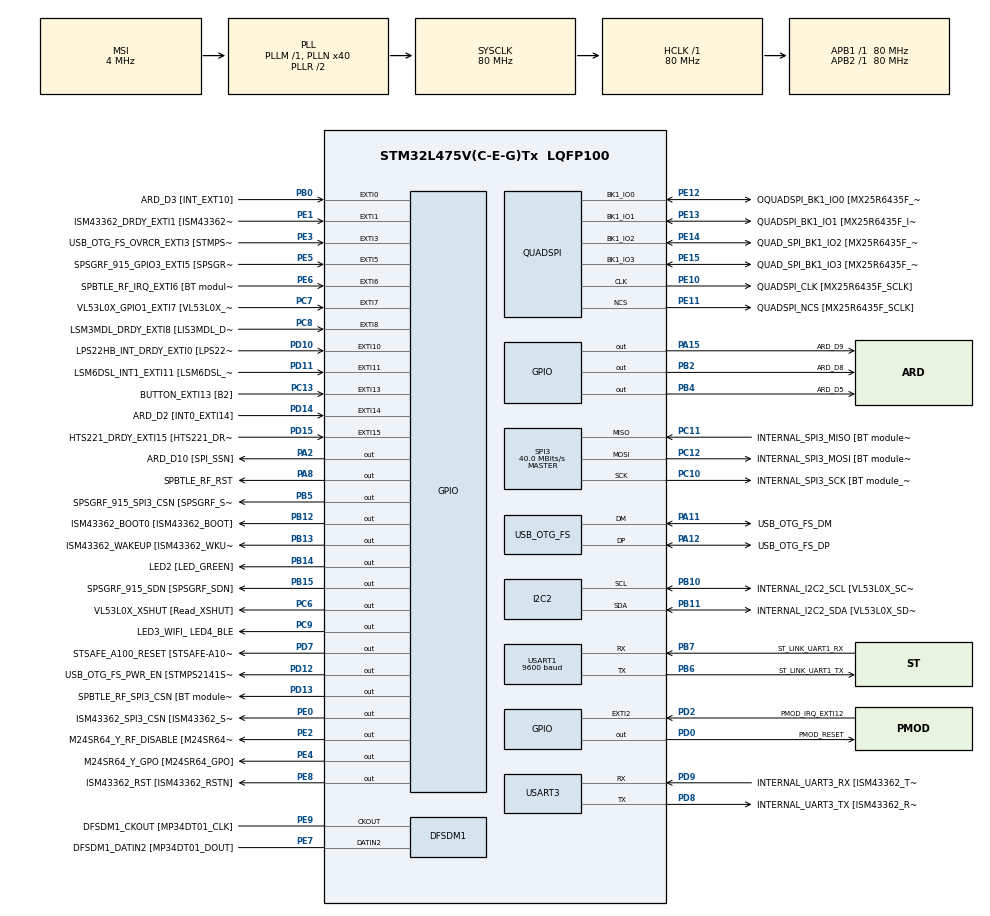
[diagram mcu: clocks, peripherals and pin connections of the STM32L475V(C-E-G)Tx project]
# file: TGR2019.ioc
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Mcu.Family=STM32L4
Mcu.Name=STM32L475V(C-E-G)Tx
Mcu.Package=LQFP100
NVIC.EXTI15_10_IRQn=true\:0\:0\:false\:false\:true\:true
NVIC.EXTI9_5_IRQn=true\:0\:0\:false\:false\:true\:true
NVIC.PriorityGroup=NVIC_PRIORITYGROUP_4
NVIC.TIM6_DAC_IRQn=true\:1\:0\:true\:false\:true\:true
NVIC.USART1_IRQn=true\:2\:0\:true\:false\:true\:true
PA0.GPIO_Label=ARD_D1 [UART4_TX]
PA0.Signal=UART4_TX
PA1.GPIO_Label=ARD_D0 [UART4_RX]
PA1.Signal=UART4_RX
PA10.GPIO_Label=USB_OTG_FS_ID
PA10.Signal=USB_OTG_FS_ID
PA11.GPIO_Label=USB_OTG_FS_DM
PA11.Mode=Device_Only
PA11.Signal=USB_OTG_FS_DM
PA12.GPIO_Label=USB_OTG_FS_DP
PA12.Mode=Device_Only
PA12.Signal=USB_OTG_FS_DP
PA13\ (JTMS-SWDIO).GPIO_Label=SYS_JTMS_SWDIO
PA13\ (JTMS-SWDIO).Mode=Serial_Wire
PA13\ (JTMS-SWDIO).Signal=SYS_JTMS-SWDIO
PA14\ (JTCK-SWCLK).GPIO_Label=SYS_JTCK_SWCLK
PA14\ (JTCK-SWCLK).Mode=Serial_Wire
PA14\ (JTCK-SWCLK).Signal=SYS_JTCK-SWCLK
PA15\ (JTDI).GPIO_Label=ARD_D9
PA15\ (JTDI).Signal=GPIO_Output
PA2.GPIO_Label=ARD_D10 [SPI_SSN]
PA2.Signal=GPIO_Output
PA3.GPIO_Label=ARD_D4
PA3.Signal=S_TIM2_CH4
PA4.GPIO_Label=ARD_D7
PA4.Signal=ADCx_IN9
PA5.GPIO_Label=ARD_D13 [SPI1_SCK]
PA5.Signal=SPI1_SCK
PA6.GPIO_Label=ARD_D12 [SPI1_MISO]
PA6.Signal=SPI1_MISO
PA7.GPIO_Label=ARD_D11 [SPI1_MOSI]
PA7.Signal=SPI1_MOSI
PA8.GPIO_Label=SPBTLE_RF_RST
PA8.Signal=GPIO_Output
PA9.GPIO_Label=USB_OTG_FS_VBUS [STMPS2141STR_OUT]
PA9.Signal=USB_OTG_FS_VBUS
PB0.GPIO_Label=ARD_D3 [INT_EXT10]
PB0.Signal=GPXTI0
PB1.GPIO_Label=ARD_D6 [ADC1_IN6]
PB1.Signal=ADCx_IN16
PB10.GPIO_Label=INTERNAL_I2C2_SCL [VL53L0X_SCL]
PB10.Mode=I2C
PB10.Signal=I2C2_SCL
PB11.GPIO_Label=INTERNAL_I2C2_SDA [VL53L0X_SDA]
PB11.Mode=I2C
PB11.Signal=I2C2_SDA
PB12.GPIO_Label=ISM43362_BOOT0 [ISM43362_BOOT]
PB12.Signal=GPIO_Output
PB13.GPIO_Label=ISM43362_WAKEUP [ISM43362_WKUP]
PB13.Signal=GPIO_Output
PB14.GPIO_Label=LED2 [LED_GREEN]
PB14.Signal=GPIO_Output
PB15.GPIO_Label=SPSGRF_915_SDN [SPSGRF_SDN]
PB15.Signal=GPIO_Output
PB2.GPIO_Label=ARD_D8
PB2.Signal=GPIO_Output
PB3\ (JTDO-TRACESWO).GPIO_Label=SYS_JTD0_SWO
PB3\ (JTDO-TRACESWO).Signal=SYS_JTDO-SWO
PB4\ (NJTRST).GPIO_Label=ARD_D5
PB4\ (NJTRST).Signal=GPIO_Output
PB5.GPIO_Label=SPSGRF_915_SPI3_CSN [SPSGRF_SPI_CS]
PB5.Signal=GPIO_Output
PB6.GPIO_Label=ST_LINK_UART1_TX
PB6.Mode=Asynchronous
PB6.Signal=USART1_TX
PB7.GPIO_Label=ST_LINK_UART1_RX
PB7.Mode=Asynchronous
PB7.Signal=USART1_RX
PB8.GPIO_Label=ARD_D15 [I2C1_SCL]
PB8.Signal=I2C1_SCL
PB9.GPIO_Label=ARD_D14 [I2C1_SDA]
PB9.Signal=I2C1_SDA
PC0.GPIO_Label=ARD_A5 [ADC]
PC0.Signal=ADCx_IN1
PC1.GPIO_Label=ARD_A4 [ADC]
PC1.Signal=ADCx_IN2
PC10.GPIO_Label=INTERNAL_SPI3_SCK [BT module_SPI_SCLK]
PC10.Mode=Full_Duplex_Master
PC10.Signal=SPI3_SCK
PC11.GPIO_Label=INTERNAL_SPI3_MISO [BT module_SPI_MISO]
PC11.Mode=Full_Duplex_Master
PC11.Signal=SPI3_MISO
PC12.GPIO_Label=INTERNAL_SPI3_MOSI [BT module_SPI_MOSI]
PC12.Mode=Full_Duplex_Master
PC12.Signal=SPI3_MOSI
PC13.GPIO_Label=BUTTON_EXTI13 [B2]
PC13.GPIO_ModeDefaultEXTI=GPIO_MODE_IT_FALLING
PC13.Signal=GPXTI13
PC14-OSC32_IN\ (PC14).Mode=LSE-External-Oscillator
PC14-OSC32_IN\ (PC14).Signal=RCC_OSC32_IN
PC15-OSC32_OUT\ (PC15).Mode=LSE-External-Oscillator
PC15-OSC32_OUT\ (PC15).Signal=RCC_OSC32_OUT
PC2.GPIO_Label=ARD_A3 [ADC]
PC2.Signal=ADCx_IN3
PC3.GPIO_Label=ARD_A2 [ADC]
PC3.Signal=ADCx_IN4
PC4.GPIO_Label=ARD_A1 [ADC]
PC4.Signal=ADCx_IN13
PC5.GPIO_Label=ARD_A0 [ADC]
PC5.Signal=ADCx_IN14
PC6.GPIO_Label=VL53L0X_XSHUT [Read_XSHUT]
PC6.Signal=GPIO_Output
PC7.GPIO_Label=VL53L0X_GPIO1_EXTI7 [VL53L0X_GPIO1]
PC7.Signal=GPXTI7
PC8.GPIO_Label=LSM3MDL_DRDY_EXTI8 [LIS3MDL_DRDY]
PC8.Signal=GPXTI8
PC9.GPIO_Label=LED3_WIFI_ LED4_BLE
PC9.Signal=GPIO_Output
PD0.GPIO_Label=PMOD_RESET
PD0.Signal=GPIO_Output
PD1.GPIO_Label=PMOD_SPI2_SCK
PD1.Signal=SPI2_SCK
PD10.GPIO_Label=LPS22HB_INT_DRDY_EXTI0 [LPS22HB_INT_DRDY] 
PD10.Signal=GPXTI10
PD11.GPIO_Label=LSM6DSL_INT1_EXTI11 [LSM6DSL_INT1]
PD11.Signal=GPXTI11
PD12.GPIO_Label=USB_OTG_FS_PWR_EN [STMPS2141STR_EN]
PD12.Signal=GPIO_Output
PD13.GPIO_Label=SPBTLE_RF_SPI3_CSN [BT module_SPI_CS]
PD13.Signal=GPIO_Output
PD14.GPIO_Label=ARD_D2 [INT0_EXTI14]
PD14.Signal=GPXTI14
PD15.GPIO_Label=HTS221_DRDY_EXTI15 [HTS221_DRDY]
PD15.Signal=GPXTI15
PD2.GPIO_Label=PMOD_IRQ_EXTI12
PD2.Signal=GPXTI2
PD3.GPIO_Label=PMOD_UART2_CTS
PD3.Signal=USART2_CTS
PD4.GPIO_Label=PMOD_UART2_RTS
PD4.Signal=USART2_RTS
PD5.GPIO_Label=PMOD_UART2_TX
PD5.Signal=USART2_TX
PD6.GPIO_Label=PMOD_UART2_RX
PD6.Signal=USART2_RX
PD7.GPIO_Label=STSAFE_A100_RESET [STSAFE-A100_RESET]
PD7.Signal=GPIO_Output
PD8.GPIO_Label=INTERNAL_UART3_TX [ISM43362_RX]
PD8.Mode=Asynchronous
PD8.Signal=USART3_TX
PD9.GPIO_Label=INTERNAL_UART3_RX [ISM43362_TX]
PD9.Mode=Asynchronous
PD9.Signal=USART3_RX
PE0.GPIO_Label=ISM43362_SPI3_CSN [ISM43362_SSN]
PE0.Signal=GPIO_Output
PE1.GPIO_Label=ISM43362_DRDY_EXTI1 [ISM43362_DATARDY]
PE1.Signal=GPXTI1
PE10.GPIO_Label=QUADSPI_CLK [MX25R6435F_SCLK]
PE10.Mode=Single Bank
PE10.Signal=QUADSPI_CLK
PE11.GPIO_Label=QUADSPI_NCS [MX25R6435F_SCLK]
PE11.Mode=Single Bank
PE11.Signal=QUADSPI_NCS
PE12.GPIO_Label=OQUADSPI_BK1_IO0 [MX25R6435F_IO0]
PE12.Mode=Single Bank
PE12.Signal=QUADSPI_BK1_IO0
PE13.GPIO_Label=QUADSPI_BK1_IO1 [MX25R6435F_IO1]
PE13.Mode=Single Bank
PE13.Signal=QUADSPI_BK1_IO1
PE14.GPIO_Label=QUAD_SPI_BK1_IO2 [MX25R6435F_IO2]
PE14.Mode=Single Bank
PE14.Signal=QUADSPI_BK1_IO2
PE15.GPIO_Label=QUAD_SPI_BK1_IO3 [MX25R6435F_IO3]
PE15.Mode=Single Bank
PE15.Signal=QUADSPI_BK1_IO3
PE2.GPIO_Label=M24SR64_Y_RF_DISABLE [M24SR64_RFDIS]
PE2.Signal=GPIO_Output
PE3.GPIO_Label=USB_OTG_FS_OVRCR_EXTI3 [STMPS2141STR_FAULT]
PE3.Signal=GPXTI3
PE4.GPIO_Label=M24SR64_Y_GPO [M24SR64_GPO]
PE4.Signal=GPIO_Output
PE5.GPIO_Label=SPSGRF_915_GPIO3_EXTI5 [SPSGRF_GPIO_3]
PE5.Signal=GPXTI5
PE6.GPIO_Label=SPBTLE_RF_IRQ_EXTI6 [BT module_SPI_IRQ]
PE6.Signal=GPXTI6
PE7.GPIO_Label=DFSDM1_DATIN2 [MP34DT01_DOUT]
PE7.Signal=S_DATAIN2DFSDM1
PE8.GPIO_Label=ISM43362_RST [ISM43362_RSTN]
PE8.Signal=GPIO_Output
PE9.GPIO_Label=DFSDM1_CKOUT [MP34DT01_CLK]
PE9.Signal=S_CKOUTDFSDM1
ProjectManager.HeapSize=0x200
ProjectManager.StackSize=0x400
ProjectManager.TargetToolchain=TrueSTUDIO
RCC.ADCFreq_Value=48000000
RCC.AHBFreq_Value=80000000
RCC.APB1Freq_Value=80000000
RCC.APB1TimFreq_Value=80000000
RCC.APB2Freq_Value=80000000
RCC.APB2TimFreq_Value=80000000
RCC.CortexFreq_Value=80000000
RCC.HCLKFreq_Value=80000000
RCC.HSE_VALUE=8000000
RCC.HSI_VALUE=16000000
RCC.MSI_VALUE=4000000
RCC.PLLN=40
RCC.PLLSAI1N=24
RCC.SYSCLKFreq_VALUE=80000000
RCC.SYSCLKSource=RCC_SYSCLKSOURCE_PLLCLK
RCC.USBFreq_Value=48000000
RCC.VCOOutputFreq_Value=160000000
SH.ADCx_IN1.0=ADC1_IN1
SH.ADCx_IN13.0=ADC1_IN13
SH.ADCx_IN14.0=ADC1_IN14
SH.ADCx_IN16.0=ADC1_IN16
SH.ADCx_IN2.0=ADC1_IN2
SH.ADCx_IN3.0=ADC1_IN3
SH.ADCx_IN4.0=ADC1_IN4
SH.ADCx_IN9.0=ADC1_IN9
SH.S_CKOUTDFSDM1.0=DFSDM1_CKOUT,CKOUT
SH.S_CKOUTDFSDM1.1=DFSDM1_CKOUT,PDM_SPI_Input_from_ch12_and_Internal_Clock
SH.S_DATAIN2DFSDM1.0=DFSDM1_DATIN2,PDM_SPI_Input_from_ch12_and_Internal_Clock
SH.S_TIM2_CH4.0=TIM2_CH4
SPI3.CalculateBaudRate=40.0 MBits/s
SPI3.Direction=SPI_DIRECTION_2LINES
SPI3.Mode=SPI_MODE_MASTER
SPI3.VirtualType=VM_MASTER
TIM6.Period=40000
TIM6.Prescaler=999
USART1.BaudRate=9600
USART1.VirtualMode-Asynchronous=VM_ASYNC
USART3.VirtualMode-Asynchronous=VM_ASYNC
USB_OTG_FS.VirtualMode=Device_Only
VP_TIM6_VS_ClockSourceINT.Mode=Enable_Timer
board=B-L475E-IOT01A

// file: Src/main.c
/* USER CODE BEGIN Header */
/**
  ******************************************************************************
  * @file           : main.c
  * @brief          : Main program body
  ******************************************************************************
  ** This notice applies to any and all portions of this file
  * that are not between comment pairs USER CODE BEGIN and
  * USER CODE END. Other portions of this file, whether
  * inserted by the user or by software development tools
  * are owned by their respective copyright owners.
  *
  * COPYRIGHT(c) 2019 STMicroelectronics
  *
  * Redistribution and use in source and binary forms, with or without modification,
  * are permitted provided that the following conditions are met:
  *   1. Redistributions of source code must retain the above copyright notice,
  *      this list of conditions and the following disclaimer.
  *   2. Redistributions in binary form must reproduce the above copyright notice,
  *      this list of conditions and the following disclaimer in the documentation
  *      and/or other materials provided with the distribution.
  *   3. Neither the name of STMicroelectronics nor the names of its contributors
  *      may be used to endorse or promote products derived from this software
  *      without specific prior written permission.
  *
  * THIS SOFTWARE IS PROVIDED BY THE COPYRIGHT HOLDERS AND CONTRIBUTORS "AS IS"
  * AND ANY EXPRESS OR IMPLIED WARRANTIES, INCLUDING, BUT NOT LIMITED TO, THE
  * IMPLIED WARRANTIES OF MERCHANTABILITY AND FITNESS FOR A PARTICULAR PURPOSE ARE
  * DISCLAIMED. IN NO EVENT SHALL THE COPYRIGHT HOLDER OR CONTRIBUTORS BE LIABLE
  * FOR ANY DIRECT, INDIRECT, INCIDENTAL, SPECIAL, EXEMPLARY, OR CONSEQUENTIAL
  * DAMAGES (INCLUDING, BUT NOT LIMITED TO, PROCUREMENT OF SUBSTITUTE GOODS OR
  * SERVICES; LOSS OF USE, DATA, OR PROFITS; OR BUSINESS INTERRUPTION) HOWEVER
  * CAUSED AND ON ANY THEORY OF LIABILITY, WHETHER IN CONTRACT, STRICT LIABILITY,
  * OR TORT (INCLUDING NEGLIGENCE OR OTHERWISE) ARISING IN ANY WAY OUT OF THE USE
  * OF THIS SOFTWARE, EVEN IF ADVISED OF THE POSSIBILITY OF SUCH DAMAGE.
  *
  ******************************************************************************
  */
/* USER CODE END Header */

#include "main.h"

/* USER CODE BEGIN Includes */
#include <stdio.h>
#include "stm32l475e_iot01.h"
#include "stm32l475e_iot01_accelero.h"
#include "stm32l475e_iot01_magneto.h"
#include "stm32l475e_iot01_gyro.h"
#include "stm32l475e_iot01_tsensor.h"
#include "stm32l475e_iot01_psensor.h"
#include "stm32l475e_iot01_hsensor.h"

/* USER CODE END Includes */
static void VL53L0X_PROXIMITY_MspInit(void);
static uint16_t VL53L0X_PROXIMITY_GetDistance(void);
static void VL53L0X_PROXIMITY_Init(void);
/* USER CODE BEGIN PTD */
#include "string.h"

extern I2C_HandleTypeDef hI2cHandler;
VL53L0X_Dev_t Dev =
{
  .I2cHandle = &hI2cHandler,
  .I2cDevAddr = PROXIMITY_I2C_ADDRESS
};
/* USER CODE END PTD */

DFSDM_Channel_HandleTypeDef hdfsdm1_channel1;

I2C_HandleTypeDef hi2c2;

QSPI_HandleTypeDef hqspi;

SPI_HandleTypeDef hspi3;

TIM_HandleTypeDef htim6;

UART_HandleTypeDef huart1;
UART_HandleTypeDef huart3;

PCD_HandleTypeDef hpcd_USB_OTG_FS;

void SystemClock_Config(void);
static void MX_GPIO_Init(void);
static void MX_DFSDM1_Init(void);
static void MX_I2C2_Init(void);
static void MX_QUADSPI_Init(void);
static void MX_SPI3_Init(void);
static void MX_USART1_UART_Init(void);
static void MX_USART3_UART_Init(void);
static void MX_USB_OTG_FS_PCD_Init(void);
static void MX_TIM6_Init(void);

extern float PRESSURE;
extern float HUMIDITY;
extern float TEMPERATURE;

extern int16_t pDataXYZ[3];
extern float pfDataXYZ[3];
extern int16_t pDataXYZ1[3];
extern uint16_t prox_value;
//uint16_t prox_value;

/* USER CODE BEGIN 0 */
/* Private function prototypes -----------------------------------------------*/
//static void VL53L0X_PROXIMITY_MspInit(void);
//static uint16_t VL53L0X_PROXIMITY_GetDistance(void);
//static void VL53L0X_PROXIMITY_Init(void);
/* Private functions ---------------------------------------------------------*/
/* USER CODE END 0 */

int main(void)
{

  /* MCU Configuration--------------------------------------------------------*/

  /* Reset of all peripherals, Initializes the Flash interface and the Systick. */
  HAL_Init();

  /* Configure the system clock */
  SystemClock_Config();

  /* Initialize all configured peripherals */
  MX_GPIO_Init();
  MX_DFSDM1_Init();
  MX_I2C2_Init();
  MX_QUADSPI_Init();
  MX_SPI3_Init();
  MX_USART1_UART_Init();
  MX_USART3_UART_Init();
  MX_USB_OTG_FS_PCD_Init();
  MX_TIM6_Init();
  /* USER CODE BEGIN 2 */

  BSP_PSENSOR_Init();
  BSP_ACCELERO_Init();
  BSP_TSENSOR_Init();
  BSP_GYRO_Init();
  BSP_MAGNETO_Init();
  BSP_HSENSOR_Init();
  VL53L0X_PROXIMITY_Init();

//  HAL_Sleep(1000);

  HAL_TIM_Base_Start_IT(&htim6);
  __HAL_UART_ENABLE_IT(&huart1,UART_IT_RXNE);

  /* USER CODE END 2 */

  /* Infinite loop */
  while (1)
  {
	  PRESSURE = BSP_PSENSOR_ReadPressure();
	  HUMIDITY = BSP_HSENSOR_ReadHumidity();
	  TEMPERATURE = BSP_TSENSOR_ReadTemp();

	  BSP_ACCELERO_AccGetXYZ(pDataXYZ);
	  BSP_GYRO_GetXYZ(pfDataXYZ);
	  BSP_MAGNETO_GetXYZ(pDataXYZ1);

      prox_value = VL53L0X_PROXIMITY_GetDistance();
//      char str[50];

//	  sprintf(str,"PRESSURE is = %d mBar\n\r",prox_value);

//      HAL_UART_Transmit(&huart1,str, strlen(str),1000);

//	  char str[50];
//	float TEMPERATURE = BSP_TSENSOR_ReadTemp();
//	sprintf(str,"TEMPERATURE is = %.2f *C\n\r",TEMPERATURE);
//		  HAL_UART_Transmit(&huart1,str, strlen(str),1000);
  }
}

void SystemClock_Config(void)
{
  RCC_OscInitTypeDef RCC_OscInitStruct = {0};
  RCC_ClkInitTypeDef RCC_ClkInitStruct = {0};
  RCC_PeriphCLKInitTypeDef PeriphClkInit = {0};

  /**Configure LSE Drive Capability
  */
  HAL_PWR_EnableBkUpAccess();
  __HAL_RCC_LSEDRIVE_CONFIG(RCC_LSEDRIVE_LOW);
  /**Initializes the CPU, AHB and APB busses clocks
  */
  RCC_OscInitStruct.OscillatorType = RCC_OSCILLATORTYPE_LSE|RCC_OSCILLATORTYPE_MSI;
  RCC_OscInitStruct.LSEState = RCC_LSE_ON;
  RCC_OscInitStruct.MSIState = RCC_MSI_ON;
  RCC_OscInitStruct.MSICalibrationValue = 0;
  RCC_OscInitStruct.MSIClockRange = RCC_MSIRANGE_6;
  RCC_OscInitStruct.PLL.PLLState = RCC_PLL_ON;
  RCC_OscInitStruct.PLL.PLLSource = RCC_PLLSOURCE_MSI;
  RCC_OscInitStruct.PLL.PLLM = 1;
  RCC_OscInitStruct.PLL.PLLN = 40;
  RCC_OscInitStruct.PLL.PLLP = RCC_PLLP_DIV7;
  RCC_OscInitStruct.PLL.PLLQ = RCC_PLLQ_DIV2;
  RCC_OscInitStruct.PLL.PLLR = RCC_PLLR_DIV2;
  if (HAL_RCC_OscConfig(&RCC_OscInitStruct) != HAL_OK)
  {
    Error_Handler();
  }
  /**Initializes the CPU, AHB and APB busses clocks
  */
  RCC_ClkInitStruct.ClockType = RCC_CLOCKTYPE_HCLK|RCC_CLOCKTYPE_SYSCLK
                              |RCC_CLOCKTYPE_PCLK1|RCC_CLOCKTYPE_PCLK2;
  RCC_ClkInitStruct.SYSCLKSource = RCC_SYSCLKSOURCE_PLLCLK;
  RCC_ClkInitStruct.AHBCLKDivider = RCC_SYSCLK_DIV1;
  RCC_ClkInitStruct.APB1CLKDivider = RCC_HCLK_DIV1;
  RCC_ClkInitStruct.APB2CLKDivider = RCC_HCLK_DIV1;

  if (HAL_RCC_ClockConfig(&RCC_ClkInitStruct, FLASH_LATENCY_4) != HAL_OK)
  {
    Error_Handler();
  }
  PeriphClkInit.PeriphClockSelection = RCC_PERIPHCLK_USART1|RCC_PERIPHCLK_USART3
                              |RCC_PERIPHCLK_I2C2|RCC_PERIPHCLK_DFSDM1
                              |RCC_PERIPHCLK_USB;
  PeriphClkInit.Usart1ClockSelection = RCC_USART1CLKSOURCE_PCLK2;
  PeriphClkInit.Usart3ClockSelection = RCC_USART3CLKSOURCE_PCLK1;
  PeriphClkInit.I2c2ClockSelection = RCC_I2C2CLKSOURCE_PCLK1;
  PeriphClkInit.Dfsdm1ClockSelection = RCC_DFSDM1CLKSOURCE_PCLK;
  PeriphClkInit.UsbClockSelection = RCC_USBCLKSOURCE_PLLSAI1;
  PeriphClkInit.PLLSAI1.PLLSAI1Source = RCC_PLLSOURCE_MSI;
  PeriphClkInit.PLLSAI1.PLLSAI1M = 1;
  PeriphClkInit.PLLSAI1.PLLSAI1N = 24;
  PeriphClkInit.PLLSAI1.PLLSAI1P = RCC_PLLP_DIV7;
  PeriphClkInit.PLLSAI1.PLLSAI1Q = RCC_PLLQ_DIV2;
  PeriphClkInit.PLLSAI1.PLLSAI1R = RCC_PLLR_DIV2;
  PeriphClkInit.PLLSAI1.PLLSAI1ClockOut = RCC_PLLSAI1_48M2CLK;
  if (HAL_RCCEx_PeriphCLKConfig(&PeriphClkInit) != HAL_OK)
  {
    Error_Handler();
  }
  /**Configure the main internal regulator output voltage
  */
  if (HAL_PWREx_ControlVoltageScaling(PWR_REGULATOR_VOLTAGE_SCALE1) != HAL_OK)
  {
    Error_Handler();
  }
  /**Enable MSI Auto calibration
  */
  HAL_RCCEx_EnableMSIPLLMode();
}

static void MX_DFSDM1_Init(void)
{

  hdfsdm1_channel1.Instance = DFSDM1_Channel1;
  hdfsdm1_channel1.Init.OutputClock.Activation = ENABLE;
  hdfsdm1_channel1.Init.OutputClock.Selection = DFSDM_CHANNEL_OUTPUT_CLOCK_SYSTEM;
  hdfsdm1_channel1.Init.OutputClock.Divider = 2;
  hdfsdm1_channel1.Init.Input.Multiplexer = DFSDM_CHANNEL_EXTERNAL_INPUTS;
  hdfsdm1_channel1.Init.Input.DataPacking = DFSDM_CHANNEL_STANDARD_MODE;
  hdfsdm1_channel1.Init.Input.Pins = DFSDM_CHANNEL_FOLLOWING_CHANNEL_PINS;
  hdfsdm1_channel1.Init.SerialInterface.Type = DFSDM_CHANNEL_SPI_RISING;
  hdfsdm1_channel1.Init.SerialInterface.SpiClock = DFSDM_CHANNEL_SPI_CLOCK_INTERNAL;
  hdfsdm1_channel1.Init.Awd.FilterOrder = DFSDM_CHANNEL_FASTSINC_ORDER;
  hdfsdm1_channel1.Init.Awd.Oversampling = 1;
  hdfsdm1_channel1.Init.Offset = 0;
  hdfsdm1_channel1.Init.RightBitShift = 0x00;
  if (HAL_DFSDM_ChannelInit(&hdfsdm1_channel1) != HAL_OK)
  {
    Error_Handler();
  }

}

static void MX_I2C2_Init(void)
{

  hi2c2.Instance = I2C2;
  hi2c2.Init.Timing = 0x10909CEC;
  hi2c2.Init.OwnAddress1 = 0;
  hi2c2.Init.AddressingMode = I2C_ADDRESSINGMODE_7BIT;
  hi2c2.Init.DualAddressMode = I2C_DUALADDRESS_DISABLE;
  hi2c2.Init.OwnAddress2 = 0;
  hi2c2.Init.OwnAddress2Masks = I2C_OA2_NOMASK;
  hi2c2.Init.GeneralCallMode = I2C_GENERALCALL_DISABLE;
  hi2c2.Init.NoStretchMode = I2C_NOSTRETCH_DISABLE;
  if (HAL_I2C_Init(&hi2c2) != HAL_OK)
  {
    Error_Handler();
  }
  /**Configure Analogue filter
  */
  if (HAL_I2CEx_ConfigAnalogFilter(&hi2c2, I2C_ANALOGFILTER_ENABLE) != HAL_OK)
  {
    Error_Handler();
  }
  /**Configure Digital filter
  */
  if (HAL_I2CEx_ConfigDigitalFilter(&hi2c2, 0) != HAL_OK)
  {
    Error_Handler();
  }

}

static void MX_QUADSPI_Init(void)
{

  /* QUADSPI parameter configuration*/
  hqspi.Instance = QUADSPI;
  hqspi.Init.ClockPrescaler = 255;
  hqspi.Init.FifoThreshold = 1;
  hqspi.Init.SampleShifting = QSPI_SAMPLE_SHIFTING_NONE;
  hqspi.Init.FlashSize = 1;
  hqspi.Init.ChipSelectHighTime = QSPI_CS_HIGH_TIME_1_CYCLE;
  hqspi.Init.ClockMode = QSPI_CLOCK_MODE_0;
  if (HAL_QSPI_Init(&hqspi) != HAL_OK)
  {
    Error_Handler();
  }

}

static void MX_SPI3_Init(void)
{

  /* SPI3 parameter configuration*/
  hspi3.Instance = SPI3;
  hspi3.Init.Mode = SPI_MODE_MASTER;
  hspi3.Init.Direction = SPI_DIRECTION_2LINES;
  hspi3.Init.DataSize = SPI_DATASIZE_4BIT;
  hspi3.Init.CLKPolarity = SPI_POLARITY_LOW;
  hspi3.Init.CLKPhase = SPI_PHASE_1EDGE;
  hspi3.Init.NSS = SPI_NSS_SOFT;
  hspi3.Init.BaudRatePrescaler = SPI_BAUDRATEPRESCALER_2;
  hspi3.Init.FirstBit = SPI_FIRSTBIT_MSB;
  hspi3.Init.TIMode = SPI_TIMODE_DISABLE;
  hspi3.Init.CRCCalculation = SPI_CRCCALCULATION_DISABLE;
  hspi3.Init.CRCPolynomial = 7;
  hspi3.Init.CRCLength = SPI_CRC_LENGTH_DATASIZE;
  hspi3.Init.NSSPMode = SPI_NSS_PULSE_ENABLE;
  if (HAL_SPI_Init(&hspi3) != HAL_OK)
  {
    Error_Handler();
  }

}

static void MX_TIM6_Init(void)
{

  TIM_MasterConfigTypeDef sMasterConfig = {0};

  htim6.Instance = TIM6;
  htim6.Init.Prescaler = 999;
  htim6.Init.CounterMode = TIM_COUNTERMODE_UP;
  htim6.Init.Period = 40000;
  htim6.Init.AutoReloadPreload = TIM_AUTORELOAD_PRELOAD_DISABLE;
  if (HAL_TIM_Base_Init(&htim6) != HAL_OK)
  {
    Error_Handler();
  }
  sMasterConfig.MasterOutputTrigger = TIM_TRGO_RESET;
  sMasterConfig.MasterSlaveMode = TIM_MASTERSLAVEMODE_DISABLE;
  if (HAL_TIMEx_MasterConfigSynchronization(&htim6, &sMasterConfig) != HAL_OK)
  {
    Error_Handler();
  }

}

static void MX_USART1_UART_Init(void)
{

  huart1.Instance = USART1;
  huart1.Init.BaudRate = 9600;
  huart1.Init.WordLength = UART_WORDLENGTH_8B;
  huart1.Init.StopBits = UART_STOPBITS_1;
  huart1.Init.Parity = UART_PARITY_NONE;
  huart1.Init.Mode = UART_MODE_TX_RX;
  huart1.Init.HwFlowCtl = UART_HWCONTROL_NONE;
  huart1.Init.OverSampling = UART_OVERSAMPLING_16;
  huart1.Init.OneBitSampling = UART_ONE_BIT_SAMPLE_DISABLE;
  huart1.AdvancedInit.AdvFeatureInit = UART_ADVFEATURE_NO_INIT;
  if (HAL_UART_Init(&huart1) != HAL_OK)
  {
    Error_Handler();
  }

}

static void MX_USART3_UART_Init(void)
{

  huart3.Instance = USART3;
  huart3.Init.BaudRate = 115200;
  huart3.Init.WordLength = UART_WORDLENGTH_8B;
  huart3.Init.StopBits = UART_STOPBITS_1;
  huart3.Init.Parity = UART_PARITY_NONE;
  huart3.Init.Mode = UART_MODE_TX_RX;
  huart3.Init.HwFlowCtl = UART_HWCONTROL_NONE;
  huart3.Init.OverSampling = UART_OVERSAMPLING_16;
  huart3.Init.OneBitSampling = UART_ONE_BIT_SAMPLE_DISABLE;
  huart3.AdvancedInit.AdvFeatureInit = UART_ADVFEATURE_NO_INIT;
  if (HAL_UART_Init(&huart3) != HAL_OK)
  {
    Error_Handler();
  }

}

static void MX_USB_OTG_FS_PCD_Init(void)
{

  hpcd_USB_OTG_FS.Instance = USB_OTG_FS;
  hpcd_USB_OTG_FS.Init.dev_endpoints = 6;
  hpcd_USB_OTG_FS.Init.speed = PCD_SPEED_FULL;
  hpcd_USB_OTG_FS.Init.ep0_mps = DEP0CTL_MPS_64;
  hpcd_USB_OTG_FS.Init.phy_itface = PCD_PHY_EMBEDDED;
  hpcd_USB_OTG_FS.Init.Sof_enable = DISABLE;
  hpcd_USB_OTG_FS.Init.low_power_enable = DISABLE;
  hpcd_USB_OTG_FS.Init.lpm_enable = DISABLE;
  hpcd_USB_OTG_FS.Init.battery_charging_enable = DISABLE;
  hpcd_USB_OTG_FS.Init.use_dedicated_ep1 = DISABLE;
  hpcd_USB_OTG_FS.Init.vbus_sensing_enable = DISABLE;
  if (HAL_PCD_Init(&hpcd_USB_OTG_FS) != HAL_OK)
  {
    Error_Handler();
  }

}

static void MX_GPIO_Init(void)
{
  GPIO_InitTypeDef GPIO_InitStruct = {0};

  /* GPIO Ports Clock Enable */
  __HAL_RCC_GPIOE_CLK_ENABLE();
  __HAL_RCC_GPIOC_CLK_ENABLE();
  __HAL_RCC_GPIOA_CLK_ENABLE();
  __HAL_RCC_GPIOB_CLK_ENABLE();
  __HAL_RCC_GPIOD_CLK_ENABLE();

  /*Configure GPIO pin Output Level */
  HAL_GPIO_WritePin(GPIOE, M24SR64_Y_RF_DISABLE_Pin|M24SR64_Y_GPO_Pin|ISM43362_RST_Pin|ISM43362_SPI3_CSN_Pin, GPIO_PIN_RESET);

  /*Configure GPIO pin Output Level */
  HAL_GPIO_WritePin(GPIOA, ARD_D10_Pin|SPBTLE_RF_RST_Pin|ARD_D9_Pin, GPIO_PIN_RESET);

  /*Configure GPIO pin Output Level */
  HAL_GPIO_WritePin(GPIOB, ARD_D8_Pin|ISM43362_BOOT0_Pin|ISM43362_WAKEUP_Pin|LED2_Pin
                          |SPSGRF_915_SDN_Pin|ARD_D5_Pin|SPSGRF_915_SPI3_CSN_Pin, GPIO_PIN_RESET);

  /*Configure GPIO pin Output Level */
  HAL_GPIO_WritePin(GPIOD, USB_OTG_FS_PWR_EN_Pin|SPBTLE_RF_SPI3_CSN_Pin|PMOD_RESET_Pin|STSAFE_A100_RESET_Pin, GPIO_PIN_RESET);

  /*Configure GPIO pin Output Level */
  HAL_GPIO_WritePin(GPIOC, VL53L0X_XSHUT_Pin|LED3_WIFI__LED4_BLE_Pin, GPIO_PIN_RESET);

  /*Configure GPIO pins : M24SR64_Y_RF_DISABLE_Pin M24SR64_Y_GPO_Pin ISM43362_RST_Pin ISM43362_SPI3_CSN_Pin */
  GPIO_InitStruct.Pin = M24SR64_Y_RF_DISABLE_Pin|M24SR64_Y_GPO_Pin|ISM43362_RST_Pin|ISM43362_SPI3_CSN_Pin;
  GPIO_InitStruct.Mode = GPIO_MODE_OUTPUT_PP;
  GPIO_InitStruct.Pull = GPIO_NOPULL;
  GPIO_InitStruct.Speed = GPIO_SPEED_FREQ_LOW;
  HAL_GPIO_Init(GPIOE, &GPIO_InitStruct);

  /*Configure GPIO pins : USB_OTG_FS_OVRCR_EXTI3_Pin SPSGRF_915_GPIO3_EXTI5_Pin SPBTLE_RF_IRQ_EXTI6_Pin ISM43362_DRDY_EXTI1_Pin */
  GPIO_InitStruct.Pin = USB_OTG_FS_OVRCR_EXTI3_Pin|SPSGRF_915_GPIO3_EXTI5_Pin|SPBTLE_RF_IRQ_EXTI6_Pin|ISM43362_DRDY_EXTI1_Pin;
  GPIO_InitStruct.Mode = GPIO_MODE_IT_RISING;
  GPIO_InitStruct.Pull = GPIO_NOPULL;
  HAL_GPIO_Init(GPIOE, &GPIO_InitStruct);

  /*Configure GPIO pin : BUTTON_EXTI13_Pin */
  GPIO_InitStruct.Pin = BUTTON_EXTI13_Pin;
  GPIO_InitStruct.Mode = GPIO_MODE_IT_FALLING;
  GPIO_InitStruct.Pull = GPIO_NOPULL;
  HAL_GPIO_Init(BUTTON_EXTI13_GPIO_Port, &GPIO_InitStruct);

  /*Configure GPIO pins : ARD_A5_Pin ARD_A4_Pin ARD_A3_Pin ARD_A2_Pin
                           ARD_A1_Pin ARD_A0_Pin */
  GPIO_InitStruct.Pin = ARD_A5_Pin|ARD_A4_Pin|ARD_A3_Pin|ARD_A2_Pin
                          |ARD_A1_Pin|ARD_A0_Pin;
  GPIO_InitStruct.Mode = GPIO_MODE_ANALOG_ADC_CONTROL;
  GPIO_InitStruct.Pull = GPIO_NOPULL;
  HAL_GPIO_Init(GPIOC, &GPIO_InitStruct);

  /*Configure GPIO pins : ARD_D1_Pin ARD_D0_Pin */
  GPIO_InitStruct.Pin = ARD_D1_Pin|ARD_D0_Pin;
  GPIO_InitStruct.Mode = GPIO_MODE_AF_PP;
  GPIO_InitStruct.Pull = GPIO_NOPULL;
  GPIO_InitStruct.Speed = GPIO_SPEED_FREQ_VERY_HIGH;
  GPIO_InitStruct.Alternate = GPIO_AF8_UART4;
  HAL_GPIO_Init(GPIOA, &GPIO_InitStruct);

  /*Configure GPIO pins : ARD_D10_Pin SPBTLE_RF_RST_Pin ARD_D9_Pin */
  GPIO_InitStruct.Pin = ARD_D10_Pin|SPBTLE_RF_RST_Pin|ARD_D9_Pin;
  GPIO_InitStruct.Mode = GPIO_MODE_OUTPUT_PP;
  GPIO_InitStruct.Pull = GPIO_NOPULL;
  GPIO_InitStruct.Speed = GPIO_SPEED_FREQ_LOW;
  HAL_GPIO_Init(GPIOA, &GPIO_InitStruct);

  /*Configure GPIO pin : ARD_D4_Pin */
  GPIO_InitStruct.Pin = ARD_D4_Pin;
  GPIO_InitStruct.Mode = GPIO_MODE_AF_PP;
  GPIO_InitStruct.Pull = GPIO_NOPULL;
  GPIO_InitStruct.Speed = GPIO_SPEED_FREQ_LOW;
  GPIO_InitStruct.Alternate = GPIO_AF1_TIM2;
  HAL_GPIO_Init(ARD_D4_GPIO_Port, &GPIO_InitStruct);

  /*Configure GPIO pin : ARD_D7_Pin */
  GPIO_InitStruct.Pin = ARD_D7_Pin;
  GPIO_InitStruct.Mode = GPIO_MODE_ANALOG_ADC_CONTROL;
  GPIO_InitStruct.Pull = GPIO_NOPULL;
  HAL_GPIO_Init(ARD_D7_GPIO_Port, &GPIO_InitStruct);

  /*Configure GPIO pins : ARD_D13_Pin ARD_D12_Pin ARD_D11_Pin */
  GPIO_InitStruct.Pin = ARD_D13_Pin|ARD_D12_Pin|ARD_D11_Pin;
  GPIO_InitStruct.Mode = GPIO_MODE_AF_PP;
  GPIO_InitStruct.Pull = GPIO_NOPULL;
  GPIO_InitStruct.Speed = GPIO_SPEED_FREQ_VERY_HIGH;
  GPIO_InitStruct.Alternate = GPIO_AF5_SPI1;
  HAL_GPIO_Init(GPIOA, &GPIO_InitStruct);

  /*Configure GPIO pin : ARD_D3_Pin */
  GPIO_InitStruct.Pin = ARD_D3_Pin;
  GPIO_InitStruct.Mode = GPIO_MODE_IT_RISING;
  GPIO_InitStruct.Pull = GPIO_NOPULL;
  HAL_GPIO_Init(ARD_D3_GPIO_Port, &GPIO_InitStruct);

  /*Configure GPIO pin : ARD_D6_Pin */
  GPIO_InitStruct.Pin = ARD_D6_Pin;
  GPIO_InitStruct.Mode = GPIO_MODE_ANALOG_ADC_CONTROL;
  GPIO_InitStruct.Pull = GPIO_NOPULL;
  HAL_GPIO_Init(ARD_D6_GPIO_Port, &GPIO_InitStruct);

  /*Configure GPIO pins : ARD_D8_Pin ISM43362_BOOT0_Pin ISM43362_WAKEUP_Pin LED2_Pin
                           SPSGRF_915_SDN_Pin ARD_D5_Pin SPSGRF_915_SPI3_CSN_Pin */
  GPIO_InitStruct.Pin = ARD_D8_Pin|ISM43362_BOOT0_Pin|ISM43362_WAKEUP_Pin|LED2_Pin
                          |SPSGRF_915_SDN_Pin|ARD_D5_Pin|SPSGRF_915_SPI3_CSN_Pin;
  GPIO_InitStruct.Mode = GPIO_MODE_OUTPUT_PP;
  GPIO_InitStruct.Pull = GPIO_NOPULL;
  GPIO_InitStruct.Speed = GPIO_SPEED_FREQ_LOW;
  HAL_GPIO_Init(GPIOB, &GPIO_InitStruct);

  /*Configure GPIO pins : LPS22HB_INT_DRDY_EXTI0_Pin LSM6DSL_INT1_EXTI11_Pin ARD_D2_Pin HTS221_DRDY_EXTI15_Pin
                           PMOD_IRQ_EXTI12_Pin */
  GPIO_InitStruct.Pin = LPS22HB_INT_DRDY_EXTI0_Pin|LSM6DSL_INT1_EXTI11_Pin|ARD_D2_Pin|HTS221_DRDY_EXTI15_Pin
                          |PMOD_IRQ_EXTI12_Pin;
  GPIO_InitStruct.Mode = GPIO_MODE_IT_RISING;
  GPIO_InitStruct.Pull = GPIO_NOPULL;
  HAL_GPIO_Init(GPIOD, &GPIO_InitStruct);

  /*Configure GPIO pins : USB_OTG_FS_PWR_EN_Pin SPBTLE_RF_SPI3_CSN_Pin PMOD_RESET_Pin STSAFE_A100_RESET_Pin */
  GPIO_InitStruct.Pin = USB_OTG_FS_PWR_EN_Pin|SPBTLE_RF_SPI3_CSN_Pin|PMOD_RESET_Pin|STSAFE_A100_RESET_Pin;
  GPIO_InitStruct.Mode = GPIO_MODE_OUTPUT_PP;
  GPIO_InitStruct.Pull = GPIO_NOPULL;
  GPIO_InitStruct.Speed = GPIO_SPEED_FREQ_LOW;
  HAL_GPIO_Init(GPIOD, &GPIO_InitStruct);

  /*Configure GPIO pins : VL53L0X_XSHUT_Pin LED3_WIFI__LED4_BLE_Pin */
  GPIO_InitStruct.Pin = VL53L0X_XSHUT_Pin|LED3_WIFI__LED4_BLE_Pin;
  GPIO_InitStruct.Mode = GPIO_MODE_OUTPUT_PP;
  GPIO_InitStruct.Pull = GPIO_NOPULL;
  GPIO_InitStruct.Speed = GPIO_SPEED_FREQ_LOW;
  HAL_GPIO_Init(GPIOC, &GPIO_InitStruct);

  /*Configure GPIO pins : VL53L0X_GPIO1_EXTI7_Pin LSM3MDL_DRDY_EXTI8_Pin */
  GPIO_InitStruct.Pin = VL53L0X_GPIO1_EXTI7_Pin|LSM3MDL_DRDY_EXTI8_Pin;
  GPIO_InitStruct.Mode = GPIO_MODE_IT_RISING;
  GPIO_InitStruct.Pull = GPIO_NOPULL;
  HAL_GPIO_Init(GPIOC, &GPIO_InitStruct);

  /*Configure GPIO pin : PMOD_SPI2_SCK_Pin */
  GPIO_InitStruct.Pin = PMOD_SPI2_SCK_Pin;
  GPIO_InitStruct.Mode = GPIO_MODE_AF_PP;
  GPIO_InitStruct.Pull = GPIO_NOPULL;
  GPIO_InitStruct.Speed = GPIO_SPEED_FREQ_VERY_HIGH;
  GPIO_InitStruct.Alternate = GPIO_AF5_SPI2;
  HAL_GPIO_Init(PMOD_SPI2_SCK_GPIO_Port, &GPIO_InitStruct);

  /*Configure GPIO pins : PMOD_UART2_CTS_Pin PMOD_UART2_RTS_Pin PMOD_UART2_TX_Pin PMOD_UART2_RX_Pin */
  GPIO_InitStruct.Pin = PMOD_UART2_CTS_Pin|PMOD_UART2_RTS_Pin|PMOD_UART2_TX_Pin|PMOD_UART2_RX_Pin;
  GPIO_InitStruct.Mode = GPIO_MODE_AF_PP;
  GPIO_InitStruct.Pull = GPIO_NOPULL;
  GPIO_InitStruct.Speed = GPIO_SPEED_FREQ_VERY_HIGH;
  GPIO_InitStruct.Alternate = GPIO_AF7_USART2;
  HAL_GPIO_Init(GPIOD, &GPIO_InitStruct);

  /*Configure GPIO pins : ARD_D15_Pin ARD_D14_Pin */
  GPIO_InitStruct.Pin = ARD_D15_Pin|ARD_D14_Pin;
  GPIO_InitStruct.Mode = GPIO_MODE_AF_OD;
  GPIO_InitStruct.Pull = GPIO_PULLUP;
  GPIO_InitStruct.Speed = GPIO_SPEED_FREQ_VERY_HIGH;
  GPIO_InitStruct.Alternate = GPIO_AF4_I2C1;
  HAL_GPIO_Init(GPIOB, &GPIO_InitStruct);

  /* EXTI interrupt init*/
  HAL_NVIC_SetPriority(EXTI9_5_IRQn, 0, 0);
  HAL_NVIC_EnableIRQ(EXTI9_5_IRQn);

  HAL_NVIC_SetPriority(EXTI15_10_IRQn, 0, 0);
  HAL_NVIC_EnableIRQ(EXTI15_10_IRQn);

}

///* USER CODE BEGIN 4 */
static void VL53L0X_PROXIMITY_Init(void)
{
  uint16_t vl53l0x_id = 0;
  VL53L0X_DeviceInfo_t VL53L0X_DeviceInfo;

  /* Initialize IO interface */
  SENSOR_IO_Init();
  VL53L0X_PROXIMITY_MspInit();

  memset(&VL53L0X_DeviceInfo, 0, sizeof(VL53L0X_DeviceInfo_t));

  if (VL53L0X_ERROR_NONE == VL53L0X_GetDeviceInfo(&Dev, &VL53L0X_DeviceInfo))
  {
    if (VL53L0X_ERROR_NONE == VL53L0X_RdWord(&Dev, VL53L0X_REG_IDENTIFICATION_MODEL_ID, (uint16_t *) &vl53l0x_id))
    {
      if (vl53l0x_id == VL53L0X_ID)
      {
        if (VL53L0X_ERROR_NONE == VL53L0X_DataInit(&Dev))
        {
          Dev.Present = 1;
          SetupSingleShot(Dev);
        }
        else
        {
          printf("VL53L0X Time of Flight Failed to send its ID!\n\r");
        }
      }
    }
    else
    {
      printf("VL53L0X Time of Flight Failed to Initialize!\n\r");
    }
  }
  else
  {
    printf("VL53L0X Time of Flight Failed to get infos!\n\r");
  }
}

static uint16_t VL53L0X_PROXIMITY_GetDistance(void)
{
  VL53L0X_RangingMeasurementData_t RangingMeasurementData;

  VL53L0X_PerformSingleRangingMeasurement(&Dev, &RangingMeasurementData);

  return RangingMeasurementData.RangeMilliMeter;
}

static void VL53L0X_PROXIMITY_MspInit(void)
{
  GPIO_InitTypeDef GPIO_InitStruct;

  /*Configure GPIO pin : VL53L0X_XSHUT_Pin */
  GPIO_InitStruct.Pin = VL53L0X_XSHUT_Pin;
  GPIO_InitStruct.Mode = GPIO_MODE_OUTPUT_PP;
  GPIO_InitStruct.Pull = GPIO_PULLUP;
  GPIO_InitStruct.Speed = GPIO_SPEED_FREQ_HIGH;
  HAL_GPIO_Init(VL53L0X_XSHUT_GPIO_Port, &GPIO_InitStruct);

  HAL_GPIO_WritePin(VL53L0X_XSHUT_GPIO_Port, VL53L0X_XSHUT_Pin, GPIO_PIN_SET);

  HAL_Delay(1000);
}
/* USER CODE END 4 */

void Error_Handler(void)
{
}

/************************ (C) COPYRIGHT STMicroelectronics *****END OF FILE****/
